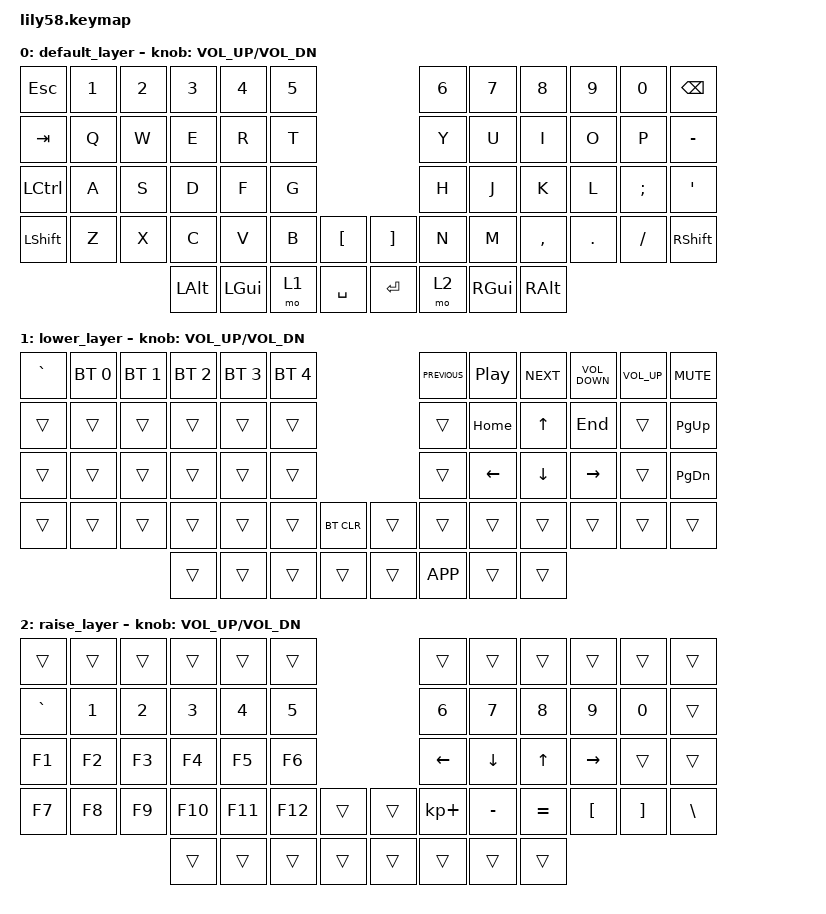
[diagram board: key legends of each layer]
/*
 * Copyright (c) 2020 The ZMK Contributors
 *
 * SPDX-License-Identifier: MIT
 */

#include <behaviors.dtsi>
#include <dt-bindings/zmk/keys.h>
#include <dt-bindings/zmk/bt.h>
#include <dt-bindings/zmk/ext_power.h>

/ {
	keymap {
		compatible = "zmk,keymap";

		default_layer {
// ------------------------------------------------------------------------------------------------------------
// |  ESC  |  1  |  2  |  3   |  4   |  5   |                   |  6   |  7    |  8    |  9   |   0   | BSPC  |
// |  TAB  |  Q  |  W  |  E   |  R   |  T   |                   |  Y   |  U    |  I    |  O   |   P   |   -   |
// |  CTRL |  A  |  S  |  D   |  F   |  G   |                   |  H   |  J    |  K    |  L   |   ;   |   '   |
// | SHIFT |  Z  |  X  |  C   |  V   |  B   |   "["  |  |  "]"  |  N   |  M    |  ,    |  .   |   /   | SHIFT |
//                     | ALT  | GUI  | LOWER|  SPACE |  | ENTER | RAISE|  GUI  | RALT  |
			bindings = <
&kp ESC   &kp N1 &kp N2 &kp N3   &kp N4   &kp N5                     &kp N6 &kp N7   &kp N8    &kp N9  &kp N0   &kp BSPC
&kp TAB   &kp Q  &kp W  &kp E    &kp R    &kp T                      &kp Y  &kp U    &kp I     &kp O   &kp P    &kp MINUS
&kp LCTRL &kp A  &kp S  &kp D    &kp F    &kp G                      &kp H  &kp J    &kp K     &kp L   &kp SEMI &kp SQT
&kp LSHFT &kp Z  &kp X  &kp C    &kp V    &kp B  &kp LBKT   &kp RBKT &kp N  &kp M    &kp COMMA &kp DOT &kp FSLH &kp RSHFT
                        &kp LALT &kp LGUI &mo 1  &kp SPACE  &kp RET  &mo 2  &kp RGUI &kp RALT
			>;

			sensor-bindings = <&inc_dec_kp C_VOL_UP C_VOL_DN>;
		};

		lower_layer {
// ------------------------------------------------------------------------------------------------------------
// | GRAVE | BT0 | BT1 |  BT2 |  BT3 |  BT4 |                   |  ⏮️️  |   ⏭️  |       |  🔉   |  🔊  |MUTE  |
// |       |     |     |      |      |      |                   |      | HOME  |  UP   | END   |       |PAGE_UP|
// |       |     |     |      |      |      |                   |      | LEFT  | DOWN  | RIGHT |       |PAGE_DOWN|
// |       |     |     |      |      |      | BT_CLR |  |       |      |       |       |       |       |      |
//                     |      |      |      |        |  |       |      |  APP  |       |
			bindings = <
&kp GRAVE &bt BT_SEL 0  &bt BT_SEL 1 &bt BT_SEL 2 &bt BT_SEL 3 	&bt BT_SEL 4            	&kp C_PREVIOUS	&kp C_PLAY_PAUSE &kp C_NEXT	 &kp C_VOLUME_DOWN  &kp C_VOLUME_UP   &kp K_MUTE
&trans	  &trans	&trans       &trans       &trans    &trans	        		&trans    	&kp HOME  	 &kp UP		 &kp END   	    &trans   	      &kp PAGE_UP
&trans    &trans  	&trans	     &trans       &trans   	&trans        			&trans    	&kp LEFT  	 &kp DOWN 	 &kp RIGHT          &trans   	      &kp PAGE_DOWN
&trans    &trans  	&trans       &trans       &trans	&trans	&bt BT_CLR      &trans	&trans 	 	&trans    	 &trans      	 &trans 	    &trans            &trans
                                     &trans       &trans        &trans       		&trans  &trans    	&kp K_APP  	 &trans    	 &trans
			>;

			sensor-bindings = <&inc_dec_kp C_VOL_UP C_VOL_DN>;
		};

		raise_layer {
// ------------------------------------------------------------------------------------------------------------
// |       |     |     |      |      |      |                   |      |       |       |      |       |       |
// |   `   |  1  |  2  |  3   |  4   |  5   |                   |  6   |   7   |   8   |  9   |   0   |       |
// |   F1  |  F2 |  F3 |  F4  |  F5  |  F6  |                   |  <-  |   v   |  ^   |  ->   |       |       |
// |   F7  |  F8 |  F9 |  F10 |  F11 |  F12 |        |  |       |  +   |   -   |   =   |  [   |   ]   |   \   |
//                     |      |      |      |        |  |       |      |       |       |
			bindings = <
&trans    &trans &trans &trans  &trans  &trans                       &trans      &trans    &trans    &trans   &trans    &trans
&kp GRAVE &kp N1 &kp N2 &kp N3  &kp N4  &kp N5                       &kp N6      &kp N7    &kp N8    &kp N9   &kp N0    &trans
&kp F1    &kp F2 &kp F3 &kp F4  &kp F5  &kp F6                       &kp LEFT    &kp DOWN  &kp UP    &kp RIGHT &trans   &trans
&kp F7    &kp F8 &kp F9 &kp F10 &kp F11 &kp F12   &trans   &trans    &kp KP_PLUS &kp MINUS &kp EQUAL &kp LBKT &kp RBKT  &kp BSLH
                        &trans  &trans  &trans    &trans   &trans    &trans      &trans    &trans
			>;

			sensor-bindings = <&inc_dec_kp C_VOL_UP C_VOL_DN>;
		};
	};
};
